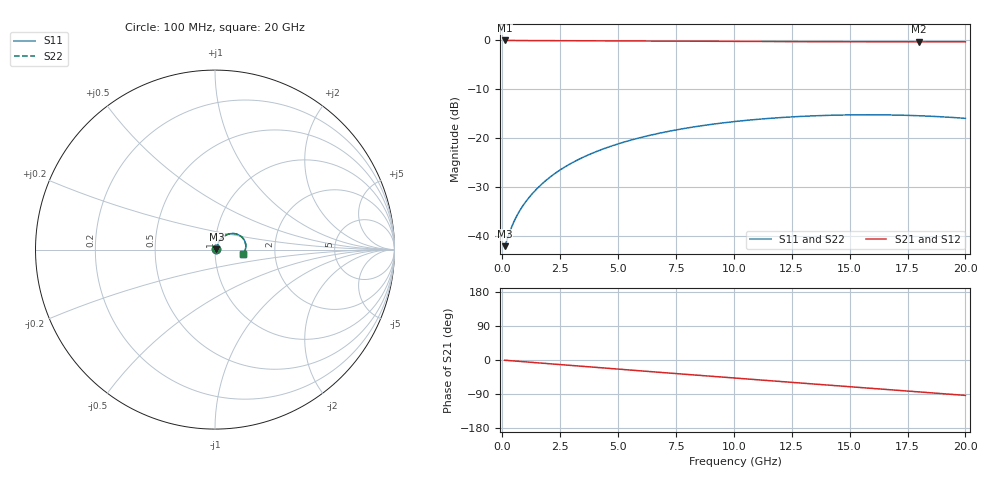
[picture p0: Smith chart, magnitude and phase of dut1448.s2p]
! Touchstone file exported from HFSS 2026.1.0
!  File:  C:/ffzhzh/LocalFiles/Ansys_Project_Files/temp_train_TSV_RDL_1448_1783358410_48288.aedt
!  Generated:  01:28:00 AM Jul  7, 2026
!  Design:  TSV_RDL
!  Project:  temp_train_TSV_RDL_1448_1783358410_48288
! Variables:
!  h_bsmrdl = 4.61um
!  h_ox = 20um
!  h_rdl = 5um
!  h_sub = 64.57um
!  h_tmrdl = 2.52um
!  h_tsv = 64.57um
!  h_via = 3um
!  l_bsmrdl = 107.09um
!  l_sub = 1474.24um
!  l_tmrdl = 160.5um
!  m_sub = 200um
!  pitch = 32.73um
!  r_tsv = 10.58um
!  s_tmrdl = 10um
!  w_bsmrdl = 17.52um
!  w_sub = 500um
!  w_tmrdl = 19.47um
!  x_tsv_center1 = 170.235um
!  x_tsv_center2 = 294.845um
!  x_tsv_center3 = 474.815um
!  x_tsv_center4 = 599.425um
!  x_tsv_center5 = 779.395um
!  x_tsv_center6 = 904.005um
# GHz S MA R 50.000000
! Terminal data exported
! Port[1] = TM_RDL1_1_T1
! Port[2] = TM_RDL5_1_T1
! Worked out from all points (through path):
!   200 points, 100 MHz to 20 GHz, reference 50 ohm
!   highest |S21| = -0.07 dB at 100 MHz (marker M1); lowest = -0.3 dB at 18 GHz (marker M2)
!   group delay of S21, straight-line fit = 12.9 ps
!   lowest |S11| = -42.0 dB at 100 MHz (marker M3), VSWR 1.02, Z = 50.8 + j0.237 ohm
!   |S11| at or under -10 dB: start of sweep to end of sweep
!   |S22| runs from -42.0 to -15.2 dB; largest |S21 - S12| = 4.5e-15
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0.1  0.007943 17.1  0.9924 -0.5  0.9924 -0.5  0.007943 17.1
! Gamma 0 0 0 0
! Port Impedance 50 0 50 0
0.4  0.01238 44.3  0.9914 -2.0  0.9914 -2.0  0.01238 44.3
0.6  0.01575 51.1  0.9907 -3.0  0.9907 -3.0  0.01575 51.1
0.9  0.02068 56.8  0.9899 -4.5  0.9899 -4.5  0.02068 56.8
1.1  0.02398 59.2  0.9895 -5.4  0.9895 -5.4  0.02398 59.2
1.3  0.0273 60.9  0.9892 -6.4  0.9892 -6.4  0.0273 60.9
1.8  0.03571 63.2  0.9884 -8.8  0.9884 -8.8  0.03571 63.2
2.3  0.04418 63.7  0.9875 -11.2  0.9875 -11.2  0.04418 63.7
2.9  0.05427 63.0  0.9864 -14.1  0.9864 -14.1  0.05427 63.0
3.5  0.06416 61.7  0.9852 -16.9  0.9852 -16.9  0.06416 61.7
4.2  0.07535 59.5  0.9837 -20.3  0.9837 -20.3  0.07535 59.5
5  0.0876 56.7  0.9818 -24.1  0.9818 -24.1  0.0876 56.7
5.9  0.1006 53.2  0.9797 -28.3  0.9797 -28.3  0.1006 53.2
6.8  0.1127 49.5  0.9775 -32.5  0.9775 -32.5  0.1127 49.5
8.4  0.1319 42.8  0.9737 -40.0  0.9737 -40.0  0.1319 42.8
10.1  0.1485 35.4  0.97 -47.9  0.97 -47.9  0.1485 35.4
11.8  0.1611 28.0  0.9667 -55.8  0.9667 -55.8  0.1611 28.0
13.4  0.169 21.0  0.9643 -63.1  0.9643 -63.1  0.169 21.0
15.1  0.1731 13.5  0.9625 -70.9  0.9625 -70.9  0.1731 13.5
16.7  0.1728 6.4  0.9616 -78.3  0.9616 -78.3  0.1728 6.4
18  0.1696 0.7  0.9614 -84.2  0.9614 -84.2  0.1696 0.7
20  0.1595 -8.3  0.9619 -93.4  0.9619 -93.4  0.1595 -8.2
